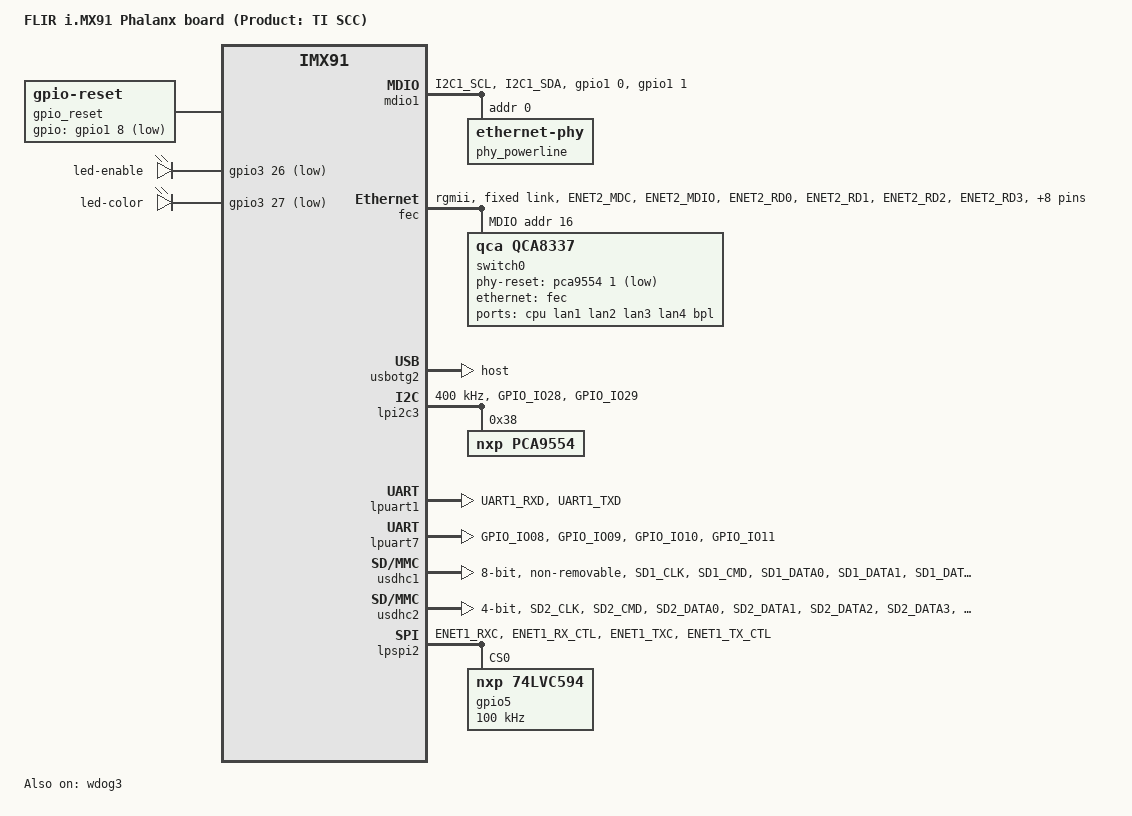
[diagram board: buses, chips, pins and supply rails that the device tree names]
// SPDX-License-Identifier: (GPL-2.0+ OR MIT)
/*
 * Copyright 2025 FLIR
 */

/dts-v1/;

#include <dt-bindings/usb/pd.h>
#include "../freescale/imx91.dtsi"
#include <dt-bindings/leds/common.h>

/ {
	compatible = "fsl,imx91-11x11-flir", "fsl,imx91";
	model = "FLIR i.MX91 Phalanx board (Product: TI SCC)";

	aliases {
		ethernet0 = &fec;
		mdio-gpio0 = &mdio1;
	};

	chosen {
		stdout-path = &lpuart1;
	};

	reserved-memory {
		ranges;
		#address-cells = <2>;
		#size-cells = <2>;

		linux,cma {
			compatible = "shared-dma-pool";
			alloc-ranges = <0 0x80000000 0 0x10000000>;
			reusable;
			size = <0 0x10000000>;
			linux,cma-default;
		};
	};

	mdio1: mdio {
			compatible = "virtual,mdio-gpio";
			gpios = <&gpio1 0 GPIO_ACTIVE_HIGH
					 &gpio1 1 GPIO_ACTIVE_HIGH>;
			#address-cells = <1>;
			#size-cells = <0>;

			pinctrl-0 = <&pinctrl_mdio_b>;
			pinctrl-names = "default";
			clock-frequency = <5000000>;

			phy_powerline: ethernet-phy@0 {
					reg = <0>;
					fixed-link {
							speed = <100>;
							full-duplex;
					};
			};
	};

	gpio_reset: gpio-reset {
		compatible = "gpio-reset";
		gpios = <&gpio1 8 GPIO_ACTIVE_LOW>;
		reset-delay-us = <10000>;
		initially-in-reset;
		#reset-cells = <0>;
		reset-names = "RSTO";
	};

	leds {
		compatible = "gpio-leds";
		pinctrl-names = "default";
		pinctrl-0 = <&pinctrl_gpio_led>;

		led-enable {
			label = "led-enable";
			line-name = "led-enable";
			gpios = <&gpio3 26 GPIO_ACTIVE_LOW>;
			default-state = "off";
		};
		led-color {
			label = "led-color";
			line-name = "led-color";
			gpios = <&gpio3 27 GPIO_ACTIVE_LOW>;
			default-state = "off";
		};
	};
};

/* Ethernet device */
&fec {
		pinctrl-names = "default";
		pinctrl-0 = <&pinctrl_fec>;
		phy-mode = "rgmii";
		fsl,magic-packet;
		status = "okay";

		fixed-link {
				speed = <1000>;
				full-duplex;
		};

		mdio {
				clock-frequency = <5000000>;
				switch0: switch@10 {
						compatible = "qca,qca8337";
						#address-cells = <1>;
						#size-cells = <0>;

						phy-reset-gpios = <&pca9554 1 GPIO_ACTIVE_LOW>; // pin number 1 on mux PCA9554
						reg = <0x10>;

						ports {
								#address-cells = <1>;
								#size-cells = <0>;

								switch0cpu: port@0 {
										reg = <0>;
										label = "cpu";
										ethernet = <&fec>;
										phy-mode = "rgmii";
										fixed-link {
												full-duplex;
												speed = <1000>;
										};
								};

								port@1 {
										reg = <1>;
										label = "lan1";
								};

								port@2 {
										reg = <2>;
										label = "lan2";
								};

								port@3 {
										reg = <3>;
										label = "lan3";
								};

								port@4 {
										reg = <4>;
										label = "lan4";
								};
/* Not connected
								port@5 {
										reg = <5>;
										label = "lan5";
								};
*/
								port@6 {
										reg = <6>;
										label = "bpl";
										phy-mode = "rmii";
										fixed-link {
												full-duplex;
												speed = <100>;
										};
								};

						};
				};
		};
};

&usbotg2 {
        dr_mode = "host";
        hnp-disable;
        srp-disable;
        adp-disable;
        usb-role-switch;
        disable-over-current;
        samsung,picophy-pre-emp-curr-control = <3>;
        samsung,picophy-dc-vol-level-adjust = <7>;
        status = "okay";
};

&ocotp {
	status = "disabled";
};

&lpi2c1 {
	#address-cells = <1>;
	#size-cells = <0>;
	clock-frequency = <400000>;
	pinctrl-0 = <&pinctrl_lpi2c1>;
	pinctrl-names = "default";
	status = "disabled";
};

&lpi2c3 {
	#address-cells = <1>;
	#size-cells = <0>;
	clock-frequency = <400000>;
	pinctrl-0 = <&pinctrl_lpi2c3>;
	pinctrl-names = "default";
	status = "okay";

	pca9554: gpio@38 {
		compatible = "nxp,pca9554";
		reg = <0x38>; // pca9554 is on 0x20 , pca9554a on 0x38
		pinctrl-names = "default";
		gpio-controller;
		status = "okay";
		#gpio-cells = <2>;
		gpio-line-names =
				"CLR_IO", "RST_ETH", "RST_USB", "RST_BPL", "RST_EXP1", "RST_EXP2";

		usb2514-enable {
			gpio-hog;
			gpios = <2 GPIO_ACTIVE_HIGH>;
			output-high;
			line-name = "USB2514_RST";
			};
	};

};

&lpuart1 {
	pinctrl-0 = <&pinctrl_uart1>;
	pinctrl-names = "default";
	status = "okay";
};

&lpuart7 {
	pinctrl-0 = <&pinctrl_uart7>;
	pinctrl-names = "default";
	status = "okay";
};

&usdhc1 {
	bus-width = <8>;
	non-removable;
	pinctrl-0 = <&pinctrl_usdhc1>;
	pinctrl-1 = <&pinctrl_usdhc1_100mhz>;
	pinctrl-2 = <&pinctrl_usdhc1_200mhz>;
	pinctrl-names = "default", "state_100mhz", "state_200mhz";
	status = "okay";
};

&usdhc2 {
	bus-width = <4>;
	cd-gpios = <&gpio3 00 GPIO_ACTIVE_LOW>;
	no-mmc;
	no-sdio;
	pinctrl-0 = <&pinctrl_usdhc2>, <&pinctrl_usdhc2_gpio>;
	pinctrl-1 = <&pinctrl_usdhc2_100mhz>, <&pinctrl_usdhc2_gpio>;
	pinctrl-2 = <&pinctrl_usdhc2_200mhz>, <&pinctrl_usdhc2_gpio>;
	pinctrl-3 = <&pinctrl_usdhc2_sleep>, <&pinctrl_usdhc2_gpio_sleep>;
	pinctrl-names = "default", "state_100mhz", "state_200mhz", "sleep";
	status = "okay";
};

&wdog3 {
	status = "okay";
};

&lpspi2 {
	pinctrl-names = "default";
	pinctrl-0 = <&pinctrl_lpspi2>;
	status = "okay";
	#address-cells = <1>;
	#size-cells = <0>;

	gpio5@0 {
		compatible = "nxp,74lvc594";
		reg = <0>;
		gpio-controller;
		#gpio-cells = <2>;
		registers-number = <4>;
		spi-max-frequency = <100000>;
	};
};

&iomuxc {
	pinctrl-names = "default_iomuxc";
	pinctrl-0 = <&BOARD_InitPins>;
	/* generated with config tool based on pins.mex file -> pin_mux.dts export */
	/* Only pin here - {pin_num: V12, peripheral: USB2, signal: hsiomix_otg_id, pin_signal: ENET1_TD3} */
	BOARD_InitPins: BOARD_InitPinsgrp {
		fsl,pins = <
			MX91_PAD_ENET1_TD3__HSIOMIX_OTG_ID2        0x0000051E
			>;
	};

	pinctrl_lpi2c1: lpi2c1grp {
		fsl,pins = <
			MX91_PAD_I2C1_SCL__I3C1_SCL                0x40000b9e
			MX91_PAD_I2C1_SDA__I3C1_SDA                0x40000b9e
			>;
	};

	pinctrl_lpi2c3: lpi2c3grp {
		fsl,pins = <
			MX91_PAD_GPIO_IO28__LPI2C3_SDA             0x40000b9e
			MX91_PAD_GPIO_IO29__LPI2C3_SCL             0x40000b9e
			>;
	};

	pinctrl_lpi2c6: lpi2c6grp {
		fsl,pins = <
			MX91_PAD_GPIO_IO04__LPI2C6_SDA             0x40000b9e
			MX91_PAD_GPIO_IO05__LPI2C6_SCL             0x40000b9e
			>;
	};

	pinctrl_lpi2c7: lpi2c7grp {
		fsl,pins = <
			MX91_PAD_GPIO_IO06__LPI2C7_SDA             0x40000b9e
			MX91_PAD_GPIO_IO07__LPSPI7_SCK             0x40000b9e
			>;
	};

	pinctrl_lpspi2: lpspi2grp {
		fsl,pins = <
			MX91_PAD_ENET1_RXC__LPSPI2_SOUT            0x0000051E
			MX91_PAD_ENET1_RX_CTL__LPSPI2_PCS0         0x0000051E
			MX91_PAD_ENET1_TXC__LPSPI2_SIN             0x0000051E
			MX91_PAD_ENET1_TX_CTL__LPSPI2_SCK          0x0000051E
		>;
	};

	pinctrl_lpspi6: lpspi6grp {
		fsl,pins = <
			MX91_PAD_GPIO_IO00__LPSPI6_PCS0            0x0000051E
			MX91_PAD_GPIO_IO01__LPSPI6_SIN             0x0000051E
			MX91_PAD_GPIO_IO02__LPSPI6_SOUT            0x0000051E
			MX91_PAD_GPIO_IO03__LPSPI6_SCK             0x0000051E
		>;
	};

	pinctrl_lpspi8: lpspi8grp {
		fsl,pins = <
			MX91_PAD_GPIO_IO12__LPSPI8_PCS0            0x0000051E
			MX91_PAD_GPIO_IO13__LPSPI8_SIN             0x0000051E
			MX91_PAD_GPIO_IO14__LPSPI8_SOUT            0x0000051E
			MX91_PAD_GPIO_IO15__LPSPI8_SCK             0x0000051E
		>;
	};

	pinctrl_fec: fecgrp {
		fsl,pins = <
			MX91_PAD_ENET2_MDC__ENET2_MDC			0x57e
			MX91_PAD_ENET2_MDIO__ENET2_MDIO			0x37e
			MX91_PAD_ENET2_RD0__ENET2_RGMII_RD0		0x57e
			MX91_PAD_ENET2_RD1__ENET2_RGMII_RD1		0x57e
			MX91_PAD_ENET2_RD2__ENET2_RGMII_RD2		0x57e
			MX91_PAD_ENET2_RD3__ENET2_RGMII_RD3		0x57e
			MX91_PAD_ENET2_RXC__ENET2_RGMII_RXC		0x57e
			MX91_PAD_ENET2_RX_CTL__ENET2_RGMII_RX_CTL	0x57e
			MX91_PAD_ENET2_TD0__ENET2_RGMII_TD0		0x57e
			MX91_PAD_ENET2_TD1__ENET2_RGMII_TD1		0x57e
			MX91_PAD_ENET2_TD2__ENET2_RGMII_TD2		0x57e
			MX91_PAD_ENET2_TD3__ENET2_RGMII_TD3		0x57e
			MX91_PAD_ENET2_TXC__ENET2_RGMII_TXC		0x5fe
			MX91_PAD_ENET2_TX_CTL__ENET2_RGMII_TX_CTL	0x57e
		>;
	};

	pinctrl_fec_sleep: fecsleepgrp {
		fsl,pins = <
			MX91_PAD_ENET2_MDC__GPIO4_IO14			0x51e
			MX91_PAD_ENET2_MDIO__GPIO4_IO15			0x51e
			MX91_PAD_ENET2_RD0__GPIO4_IO24			0x51e
			MX91_PAD_ENET2_RD1__GPIO4_IO25			0x51e
			MX91_PAD_ENET2_RD2__GPIO4_IO26			0x51e
			MX91_PAD_ENET2_RD3__GPIO4_IO27			0x51e
			MX91_PAD_ENET2_RXC__GPIO4_IO23			0x51e
			MX91_PAD_ENET2_RX_CTL__GPIO4_IO22		0x51e
			MX91_PAD_ENET2_TD0__GPIO4_IO19			0x51e
			MX91_PAD_ENET2_TD1__GPIO4_IO18			0x51e
			MX91_PAD_ENET2_TD2__GPIO4_IO17			0x51e
			MX91_PAD_ENET2_TD3__GPIO4_IO16			0x51e
			MX91_PAD_ENET2_TXC__GPIO4_IO21			0x51e
			MX91_PAD_ENET2_TX_CTL__GPIO4_IO20		0x51e
		>;
	};

	pinctrl_uart1: uart1grp {
		fsl,pins = <
			MX91_PAD_UART1_RXD__LPUART1_RX			0x051e
			MX91_PAD_UART1_TXD__LPUART1_TX			0x051e
		>;
	};

	pinctrl_uart7: uart7grp {
		fsl,pins = <
			MX91_PAD_GPIO_IO08__LPUART7_TX             0x0000051E
			MX91_PAD_GPIO_IO09__LPUART7_RX             0x0000051E
			MX91_PAD_GPIO_IO10__LPUART7_CTS_B          0x0000051E
			MX91_PAD_GPIO_IO11__LPUART7_RTS_B          0x0000051E
		>;
	};

	pinctrl_reset: gpioresetgrp {
		fsl,pins = <
			MX91_PAD_PDM_CLK__GPIO1_IO8                0x0000031E
		>;
	};

	pinctrl_gpio_led: gpioledgrp {
		fsl,pins = <
			MX91_PAD_CCM_CLKO1__GPIO3_IO26             0x0000011E
			MX91_PAD_CCM_CLKO2__GPIO3_IO27             0x0000011E
		>;
	};

	pinctrl_gpio: gpio {
		fsl,pins = <
			MX91_PAD_ENET1_MDC__GPIO4_IO0              0x0000031E
			MX91_PAD_ENET1_MDIO__GPIO4_IO1             0x0000031E
			MX91_PAD_ENET1_TD0__GPIO4_IO5              0x0000031E
			MX91_PAD_ENET1_TD1__GPIO4_IO4              0x0000031E
			MX91_PAD_ENET1_TD2__GPIO4_IO3              0x0000031E
			MX91_PAD_PDM_BIT_STREAM0__GPIO1_IO9        0x0000031E
			MX91_PAD_PDM_BIT_STREAM1__GPIO1_IO10       0x0000031E
			MX91_PAD_SD3_CLK__GPIO3_IO20               0x0000031E
			MX91_PAD_SD3_CMD__GPIO3_IO21               0x0000031E
			MX91_PAD_SD3_DATA0__GPIO3_IO22             0x0000031E
			MX91_PAD_SD3_DATA1__GPIO3_IO23             0x0000031E
			MX91_PAD_SD3_DATA2__GPIO3_IO24             0x0000031E
			MX91_PAD_SD3_DATA3__GPIO3_IO25             0x0000031E
		>;
	};

	pinctrl_sai1: sai1grp {
		fsl,pins = <
			MX91_PAD_I2C2_SCL__SAI1_RX_SYNC            0x0000031E
			MX91_PAD_I2C2_SDA__SAI1_RX_BCLK            0x0000031E
			MX91_PAD_SAI1_RXD0__SAI1_RX_DATA0          0x0000031E
			MX91_PAD_SAI1_TXC__SAI1_TX_BCLK            0x0000031E
			MX91_PAD_SAI1_TXD0__SAI1_TX_DATA0          0x0000031E
			MX91_PAD_SAI1_TXFS__SAI1_TX_SYNC           0x0000031E
			MX91_PAD_UART2_RXD__SAI1_MCLK              0x0000031E
		>;
	};

	pinctrl_sai1_sleep: sai1sleepgrp {
		fsl,pins = <
			MX91_PAD_SAI1_TXC__GPIO1_IO12			0x051e
			MX91_PAD_SAI1_TXFS__GPIO1_IO11			0x051e
			MX91_PAD_SAI1_TXD0__GPIO1_IO13			0x051e
			MX91_PAD_SAI1_RXD0__GPIO1_IO14			0x051e
			MX91_PAD_I2C2_SCL__SAI1_RX_SYNC			0x051E
			MX91_PAD_I2C2_SDA__SAI1_RX_BCLK			0x051E
			MX91_PAD_UART2_RXD__SAI1_MCLK			0x051E
		>;
	};

	pinctrl_sai3: sai3grp {
		fsl,pins = <
			MX91_PAD_GPIO_IO16__SAI3_TX_BCLK		0x051E
			MX91_PAD_GPIO_IO17__SAI3_MCLK			0x051E
			MX91_PAD_GPIO_IO18__SAI3_RX_BCLK		0x051E
			MX91_PAD_GPIO_IO19__SAI3_RX_SYNC		0x051E
			MX91_PAD_GPIO_IO20__SAI3_RX_DATA0		0x051E
			MX91_PAD_GPIO_IO21__SAI3_TX_DATA0		0x051E
		>;
	};

	pinctrl_sai3_sleep: sai3sleepgrp {
		fsl,pins = <
			MX91_PAD_GPIO_IO26__GPIO2_IO26			0x51e
			MX91_PAD_GPIO_IO16__GPIO2_IO16			0x51e
			MX91_PAD_GPIO_IO17__GPIO2_IO17			0x51e
			MX91_PAD_GPIO_IO19__GPIO2_IO19			0x51e
			MX91_PAD_GPIO_IO20__GPIO2_IO20			0x51e
			MX91_PAD_GPIO_IO18__GPIO2_IO18			0x51e
		>;
	};

	pinctrl_usdhc1: usdhc1grp {
		fsl,pins = <
			MX91_PAD_SD1_CLK__USDHC1_CLK		0x1582
			MX91_PAD_SD1_CMD__USDHC1_CMD		0x1382
			MX91_PAD_SD1_DATA0__USDHC1_DATA0	0x1382
			MX91_PAD_SD1_DATA1__USDHC1_DATA1	0x1382
			MX91_PAD_SD1_DATA2__USDHC1_DATA2	0x1382
			MX91_PAD_SD1_DATA3__USDHC1_DATA3	0x1382
			MX91_PAD_SD1_DATA4__USDHC1_DATA4	0x1382
			MX91_PAD_SD1_DATA5__USDHC1_DATA5	0x1382
			MX91_PAD_SD1_DATA6__USDHC1_DATA6	0x1382
			MX91_PAD_SD1_DATA7__USDHC1_DATA7	0x1382
			MX91_PAD_SD1_STROBE__USDHC1_STROBE	0x1582
		>;
	};

	pinctrl_usdhc1_100mhz: usdhc1-100mhzgrp {
		fsl,pins = <
			MX91_PAD_SD1_CLK__USDHC1_CLK		0x158e
			MX91_PAD_SD1_CMD__USDHC1_CMD		0x138e
			MX91_PAD_SD1_DATA0__USDHC1_DATA0	0x138e
			MX91_PAD_SD1_DATA1__USDHC1_DATA1	0x138e
			MX91_PAD_SD1_DATA2__USDHC1_DATA2	0x138e
			MX91_PAD_SD1_DATA3__USDHC1_DATA3	0x138e
			MX91_PAD_SD1_DATA4__USDHC1_DATA4	0x138e
			MX91_PAD_SD1_DATA5__USDHC1_DATA5	0x138e
			MX91_PAD_SD1_DATA6__USDHC1_DATA6	0x138e
			MX91_PAD_SD1_DATA7__USDHC1_DATA7	0x138e
			MX91_PAD_SD1_STROBE__USDHC1_STROBE	0x158e
		>;
	};

	pinctrl_usdhc1_200mhz: usdhc1-200mhzgrp {
		fsl,pins = <
			MX91_PAD_SD1_CLK__USDHC1_CLK		0x15fe
			MX91_PAD_SD1_CMD__USDHC1_CMD		0x13fe
			MX91_PAD_SD1_DATA0__USDHC1_DATA0	0x13fe
			MX91_PAD_SD1_DATA1__USDHC1_DATA1	0x13fe
			MX91_PAD_SD1_DATA2__USDHC1_DATA2	0x13fe
			MX91_PAD_SD1_DATA3__USDHC1_DATA3	0x13fe
			MX91_PAD_SD1_DATA4__USDHC1_DATA4	0x13fe
			MX91_PAD_SD1_DATA5__USDHC1_DATA5	0x13fe
			MX91_PAD_SD1_DATA6__USDHC1_DATA6	0x13fe
			MX91_PAD_SD1_DATA7__USDHC1_DATA7	0x13fe
			MX91_PAD_SD1_STROBE__USDHC1_STROBE	0x15fe
		>;
	};

	pinctrl_usdhc2_100mhz: usdhc2-100mhzgrp {
		fsl,pins = <
			MX91_PAD_SD2_CLK__USDHC2_CLK		0x158e
			MX91_PAD_SD2_CMD__USDHC2_CMD		0x138e
			MX91_PAD_SD2_DATA0__USDHC2_DATA0	0x138e
			MX91_PAD_SD2_DATA1__USDHC2_DATA1	0x138e
			MX91_PAD_SD2_DATA2__USDHC2_DATA2	0x138e
			MX91_PAD_SD2_DATA3__USDHC2_DATA3	0x138e
			MX91_PAD_SD2_VSELECT__USDHC2_VSELECT	0x051e
		>;
	};

	pinctrl_usdhc2_200mhz: usdhc2-200mhzgrp {
		fsl,pins = <
			MX91_PAD_SD2_CLK__USDHC2_CLK		0x15fe
			MX91_PAD_SD2_CMD__USDHC2_CMD		0x13fe
			MX91_PAD_SD2_DATA0__USDHC2_DATA0	0x13fe
			MX91_PAD_SD2_DATA1__USDHC2_DATA1	0x13fe
			MX91_PAD_SD2_DATA2__USDHC2_DATA2	0x13fe
			MX91_PAD_SD2_DATA3__USDHC2_DATA3	0x13fe
			MX91_PAD_SD2_VSELECT__USDHC2_VSELECT	0x051e
		>;
	};

	pinctrl_usdhc2_gpio: usdhc2gpiogrp {
		fsl,pins = <
			MX91_PAD_SD2_CD_B__GPIO3_IO0		0x31e
		>;
	};

	pinctrl_usdhc2_gpio_sleep: usdhc2gpiosleepgrp {
		fsl,pins = <
			MX91_PAD_SD2_CD_B__GPIO3_IO0		0x51e
		>;
	};

	pinctrl_usdhc2: usdhc2grp {
		fsl,pins = <
			MX91_PAD_SD2_CLK__USDHC2_CLK		0x1582
			MX91_PAD_SD2_CMD__USDHC2_CMD		0x1382
			MX91_PAD_SD2_DATA0__USDHC2_DATA0	0x1382
			MX91_PAD_SD2_DATA1__USDHC2_DATA1	0x1382
			MX91_PAD_SD2_DATA2__USDHC2_DATA2	0x1382
			MX91_PAD_SD2_DATA3__USDHC2_DATA3	0x1382
			MX91_PAD_SD2_VSELECT__USDHC2_VSELECT	0x051e
		>;
	};

	pinctrl_usdhc2_sleep: usdhc2sleepgrp {
		fsl,pins = <
			MX91_PAD_SD2_CLK__GPIO3_IO1		0x051e
			MX91_PAD_SD2_CMD__GPIO3_IO2		0x051e
			MX91_PAD_SD2_DATA0__GPIO3_IO3		0x051e
			MX91_PAD_SD2_DATA1__GPIO3_IO4		0x051e
			MX91_PAD_SD2_DATA2__GPIO3_IO5		0x051e
			MX91_PAD_SD2_DATA3__GPIO3_IO6		0x051e
			MX91_PAD_SD2_VSELECT__GPIO3_IO19	0x051e
		>;
	};

	pinctrl_usdhc3_100mhz: usdhc3-100mhzgrp {
		fsl,pins = <
			MX91_PAD_GPIO_IO22__USDHC3_CLK		0x158e
			MX91_PAD_GPIO_IO23__USDHC3_CMD		0x138e
			MX91_PAD_GPIO_IO24__USDHC3_DATA0	0x138e
			MX91_PAD_GPIO_IO25__USDHC3_DATA1	0x138e
			MX91_PAD_GPIO_IO26__USDHC3_DATA2	0x138e
			MX91_PAD_GPIO_IO27__USDHC3_DATA3	0x138e
		>;
	};

	pinctrl_usdhc3_200mhz: usdhc3-200mhzgrp {
		fsl,pins = <
			MX91_PAD_GPIO_IO22__USDHC3_CLK		0x15fe
			MX91_PAD_GPIO_IO23__USDHC3_CMD		0x13fe
			MX91_PAD_GPIO_IO24__USDHC3_DATA0	0x13fe
			MX91_PAD_GPIO_IO25__USDHC3_DATA1	0x13fe
			MX91_PAD_GPIO_IO26__USDHC3_DATA2	0x13fe
			MX91_PAD_GPIO_IO27__USDHC3_DATA3	0x13fe
		>;
	};

	pinctrl_usdhc3: usdhc3grp {
		fsl,pins = <
			MX91_PAD_GPIO_IO22__USDHC3_CLK		0x1582
			MX91_PAD_GPIO_IO23__USDHC3_CMD		0x1382
			MX91_PAD_GPIO_IO24__USDHC3_DATA0	0x1382
			MX91_PAD_GPIO_IO25__USDHC3_DATA1	0x1382
			MX91_PAD_GPIO_IO26__USDHC3_DATA2	0x1382
			MX91_PAD_GPIO_IO27__USDHC3_DATA3	0x1382
		>;
	};

	pinctrl_usdhc3_sleep: usdhc3sleepgrp {
		fsl,pins = <
			MX91_PAD_GPIO_IO22__USDHC3_CLK		0x051E
			MX91_PAD_GPIO_IO23__USDHC3_CMD		0x051E
			MX91_PAD_GPIO_IO24__USDHC3_DATA0	0x051E
			MX91_PAD_GPIO_IO25__USDHC3_DATA1	0x051E
			MX91_PAD_GPIO_IO26__USDHC3_DATA2	0x051E
			MX91_PAD_GPIO_IO27__USDHC3_DATA3	0x051E
		>;
	};

	pinctrl_mdio_b: mdiogrp {
		fsl,pins = <
			MX91_PAD_I2C1_SCL__GPIO1_IO0        0x51E
			/* std 802.3u MDIO is open drain */
			MX91_PAD_I2C1_SDA__GPIO1_IO1        0xB9E
		>;
	};

};
